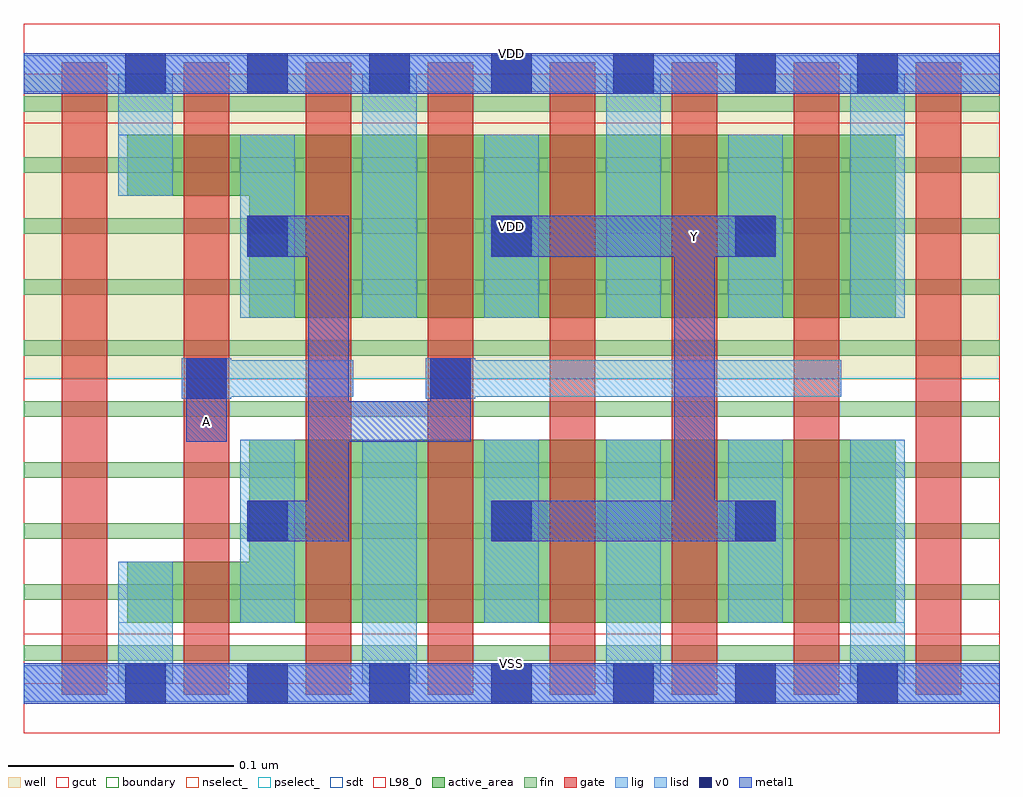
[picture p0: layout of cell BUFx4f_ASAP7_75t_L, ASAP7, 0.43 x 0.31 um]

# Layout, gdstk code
import gdstk
lib = gdstk.Library(unit=1e-6, precision=2.5e-10)
def R(c, l, rs):  # rectangles x0, y0, x1, y1
    for r in rs: c.add(gdstk.rectangle(r[:2], r[2:], *l))
def A(c, l, x, y, w, h, nx, ny, dx, dy):  # array of equal rectangles
    R(c, l, [(x+i*dx, y+j*dy, x+i*dx+w, y+j*dy+h) for i in range(nx) for j in range(ny)])
def P(c, l, *ps):  # polygons
    for p in ps: c.add(gdstk.Polygon(p, *l))
well = (1, 0)
fin = (2, 0)
gate = (7, 0)
gcut = (10, 0)
active_area = (11, 0)
nselect_ = (12, 0)
pselect_ = (13, 0)
lig = (16, 0)
lisd = (17, 0)
v0 = (18, 0)
metal1 = (19, 0)
sdt = (88, 0)
L98_0 = (98, 0)
boundary = (100, 0)

bufx4f_asap7_75t_l = lib.new_cell('BUFx4f_ASAP7_75t_L')
R(bufx4f_asap7_75t_l, well, [(0,0.135,0.432,0.27)])
A(bufx4f_asap7_75t_l, fin, 0, 0.01, 0.432, 0.007, 1, 10, 0, 0.027)
A(bufx4f_asap7_75t_l, gate, 0.017, -0.005, 0.02, 0.28, 8, 1, 0.054, 0)
R(bufx4f_asap7_75t_l, gcut, [(0,-0.022,0.432,0.022), (0,0.248,0.432,0.292)])
P(bufx4f_asap7_75t_l, active_area, [(0.046,0.027),(0.046,0.054),(0.1,0.054),(0.1,0.108),(0.386,0.108),(0.386,0.027)],
  [(0.1,0.162),(0.1,0.216),(0.046,0.216),(0.046,0.243),(0.386,0.243),(0.386,0.162)])
R(bufx4f_asap7_75t_l, nselect_, [(0,0,0.432,0.135)])
R(bufx4f_asap7_75t_l, pselect_, [(0,0.135,0.432,0.27)])
R(bufx4f_asap7_75t_l, lig, [(0,-0.008,0.432,0.008), (0.07,0.126,0.092,0.144), (0.178,0.126,0.2,0.144), (0.07,0.127,0.146,0.143), (0.178,0.127,0.362,0.143), (0,0.262,0.432,0.278)])
A(bufx4f_asap7_75t_l, lisd, 0.096, 0.027, 0.024, 0.081, 3, 2, 0.108, 0.135)
R(bufx4f_asap7_75t_l, lisd, [(0.042,0,0.066,0.054), (0.15,0,0.174,0.108), (0.15,0,0.174,0.108), (0.258,0,0.282,0.108), (0.258,0,0.282,0.108), (0.366,0,0.39,0.108), (0.366,0,0.39,0.108), (0.15,0.162,0.174,0.27), (0.15,0.162,0.174,0.27), (0.258,0.162,0.282,0.27), (0.258,0.162,0.282,0.27), (0.366,0.162,0.39,0.27), (0.366,0.162,0.39,0.27), (0.042,0.216,0.066,0.27)])
A(bufx4f_asap7_75t_l, v0, 0.045, -0.009, 0.018, 0.018, 7, 2, 0.054, 0.27)
A(bufx4f_asap7_75t_l, v0, 0.099, 0.063, 0.018, 0.018, 3, 2, 0.108, 0.126)
R(bufx4f_asap7_75t_l, v0, [(0.072,0.126,0.09,0.144), (0.18,0.126,0.198,0.144)])
A(bufx4f_asap7_75t_l, metal1, 0.099, 0.063, 0.018, 0.018, 3, 2, 0.108, 0.126)
R(bufx4f_asap7_75t_l, metal1, [(0,-0.009,0.432,0.009), (0.072,0.107,0.09,0.125), (0.072,0.107,0.09,0.144), (0.18,0.126,0.198,0.144), (0,0.261,0.432,0.279)])
P(bufx4f_asap7_75t_l, metal1, [(0.207,0.063),(0.207,0.081),(0.288,0.081),(0.288,0.189),(0.207,0.189),(0.207,0.207),(0.333,0.207),(0.333,0.189),(0.306,0.189),(0.306,0.081),(0.333,0.081),(0.333,0.063)],
  [(0.099,0.063),(0.099,0.081),(0.126,0.081),(0.126,0.189),(0.099,0.189),(0.099,0.207),(0.144,0.207),(0.144,0.125),(0.18,0.125),(0.18,0.144),(0.198,0.144),(0.198,0.107),(0.144,0.107),(0.144,0.063)])
A(bufx4f_asap7_75t_l, sdt, 0.15, 0.027, 0.024, 0.081, 3, 2, 0.054, 0.135)
A(bufx4f_asap7_75t_l, sdt, 0.258, 0.027, 0.024, 0.081, 3, 2, 0.054, 0.135)
R(bufx4f_asap7_75t_l, sdt, [(0.042,0.027,0.066,0.054), (0.096,0.027,0.12,0.108), (0.15,0.027,0.174,0.108), (0.366,0.027,0.39,0.108), (0.096,0.162,0.12,0.243), (0.15,0.162,0.174,0.243), (0.366,0.162,0.39,0.243), (0.042,0.216,0.066,0.243)])
R(bufx4f_asap7_75t_l, L98_0, [(0,0,0.432,0.27)])
R(bufx4f_asap7_75t_l, boundary, [(0,0,0.432,0.27)])
bufx4f_asap7_75t_l.add(gdstk.Label('VDD', (0.216,0.2025), layer=1, texttype=251))
bufx4f_asap7_75t_l.add(gdstk.Label('VSS', (0.216,-0.0675), layer=3, texttype=251))
bufx4f_asap7_75t_l.add(gdstk.Label('VSS', (0.216,0.009), layer=19, texttype=251))
bufx4f_asap7_75t_l.add(gdstk.Label('VDD', (0.216,0.279), layer=19, texttype=251))
bufx4f_asap7_75t_l.add(gdstk.Label('A', (0.081,0.116), layer=19, texttype=251))
bufx4f_asap7_75t_l.add(gdstk.Label('Y', (0.297,0.198), layer=19, texttype=251))

lib.write_gds('BUFx4f_ASAP7_75t_L.gds')
